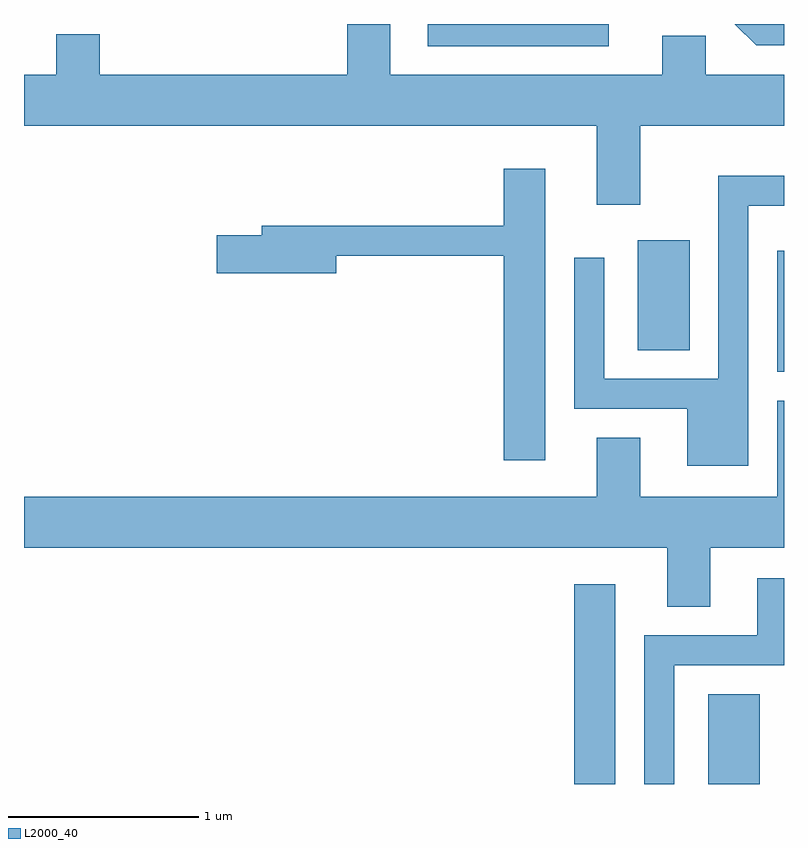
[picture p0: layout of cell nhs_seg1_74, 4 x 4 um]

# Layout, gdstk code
import gdstk
lib = gdstk.Library(unit=1e-6, precision=1e-09)
def R(c, l, rs):  # rectangles x0, y0, x1, y1
    for r in rs: c.add(gdstk.rectangle(r[:2], r[2:], *l))
def P(c, l, *ps):  # polygons
    for p in ps: c.add(gdstk.Polygon(p, *l))
L2000_40 = (2000, 40)

nhs_seg1_74 = lib.new_cell('nhs_seg1_74')
R(nhs_seg1_74, L2000_40, [(190.506,851.712,190.724,852.764), (191.211,851.712,191.484,852.184), (191.576,853.881,191.611,854.519), (190.841,853.996,191.114,854.574), (189.736,855.596,190.689,855.712)])
P(nhs_seg1_74, L2000_40, [(190.854,855.176),(191.611,855.176),(191.611,855.444),(191.199,855.444),(191.199,855.649),(190.971,855.649),(190.971,855.444),(189.539,855.444),(189.539,855.712),(189.311,855.712),(189.311,855.444),(188.009,855.444),(188.009,855.659),(187.781,855.659),(187.781,855.444),(187.611,855.444),(187.611,855.176),(190.626,855.176),(190.626,854.761),(190.854,854.761)],
  [(191.611,855.712),(191.353,855.712),(191.464,855.601),(191.611,855.601)],
  [(190.354,854.949),(190.136,854.949),(190.136,854.649),(188.861,854.649),(188.861,854.599),(188.626,854.599),(188.626,854.401),(189.254,854.401),(189.254,854.491),(190.136,854.491),(190.136,853.416),(190.354,853.416)],
  [(191.424,854.756),(191.611,854.756),(191.611,854.914),(191.266,854.914),(191.266,853.844),(190.664,853.844),(190.664,854.483),(190.506,854.483),(190.506,853.686),(191.101,853.686),(191.101,853.386),(191.424,853.386)],
  [(191.224,852.956),(191.611,852.956),(191.611,853.729),(191.576,853.729),(191.576,853.224),(190.854,853.224),(190.854,853.534),(190.626,853.534),(190.626,853.224),(187.611,853.224),(187.611,852.956),(190.996,852.956),(190.996,852.646),(191.224,852.646)],
  [(191.034,852.336),(191.611,852.336),(191.611,852.794),(191.471,852.794),(191.471,852.494),(190.876,852.494),(190.876,851.712),(191.034,851.712)])

lib.write_gds('nhs_seg1_74.gds')
